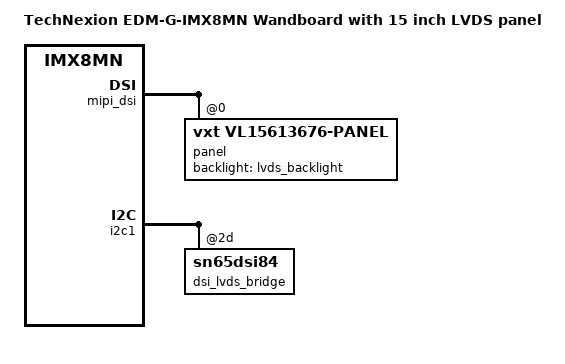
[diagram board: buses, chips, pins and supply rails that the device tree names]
// SPDX-License-Identifier: (GPL-2.0+ OR MIT)
/*
 * Copyright 2021 TechNexion Ltd.
 *
 * Author: Andy Lin <andy.lin@technexion.com>
 *
 */

/dts-v1/;

#include "imx8mn-edm-g-wb.dts"

/ {
	model = "TechNexion EDM-G-IMX8MN Wandboard with 15 inch LVDS panel";
};

&mipi_dsi {
	status = "okay";
	#address-cells = <1>;
	#size-cells = <0>;
	/delete-node/ panel@0;
	panel@0 {
		reg = <0>;
		compatible = "vxt,vl15613676-panel";
		backlight = <&lvds_backlight>;
		dsi,flags = <0x0007>;
		dsi,format = <0>;
		dsi,lanes = <4>;
		panel-width-mm  = <344>;
		panel-height-mm = <193>;
		bus-format = <0x100a>;	/* MEDIA_BUS_FMT_RGB888_1X24 */
		bus-flags = <1>;
		refresh-rate = <60>;
		rotate = <0>;
		/* horz-flip; */
		/* vert-flip; */
		/delete-node/ panel-timing;
		panel-timing {
			clock-frequency = <76000000>;
			hactive = <1366>;
			vactive = <768>;
			hfront-porch = <90>;
			hsync-len = <20>;
			hback-porch = <90>;
			vfront-porch = <17>;
			vsync-len = <4>;
			vback-porch = <17>;
			/* flags = DISPLAY_FLAGS_HSYNC_HIGH | DISPLAY_FLAGS_VSYNC_HIGH */
			vsync-active = <1>;
			hsync-active = <1>;
		};
	};
};

&i2c1 {
	/delete-node/ dsi_lvds_bridge;
	dsi_lvds_bridge: sn65dsi84@2d {
		sn65dsi84,addresses = <0x09 0x0A 0x0B 0x0D
							0x10 0x11 0x12 0x13
							0x18 0x19 0x1A 0x1B
							0x20 0x21 0x22 0x23
							0x24 0x25 0x26 0x27
							0x28 0x29 0x2A 0x2B
							0x2C 0x2D 0x2E 0x2F
							0x30 0x31 0x32 0x33
							0x34 0x35 0x36 0x37
							0x38 0x39 0x3A 0x3B
							0x3C 0x3D 0x3E 0x0D>;

		sn65dsi84,values = </* reset and clock registers */
							0x00 0x05 0x10 0x00
							/* DSI registers */
							0x26 0x00 0x35 0x00
							/* LVDS registers */
							0x78 0x00 0x03 0x00

							/* video registers */
							/* cha-al-len-l, cha-al-len-h, chb-al-len-l, chb-al-len-h */
							0x56 0x05 0x00 0x00
							/* cha-v-ds-l, cha-v-ds-h, chb-v-ds-l, chb-v-ds-h */
							0x00 0x03 0x00 0x00
							/* cha-sdl, cha-sdh, chb-sdl, chb-sdh */
							0x20 0x00 0x00 0x00
							/* cha-hs-pwl, cha-hs-pwh, chb-hs-pwl, chb-hs-pwh */
							0x14 0x00 0x00 0x00
							/* cha-vs-pwl, cha-vs-pwh, chb-vs-pwl, chb-vs-pwh */
							0x04 0x00 0x00 0x00
							/*cha-hbp, chb-hbp, cha-vbp, chb-vbp*/
							0x5a 0x00 0x11 0x00
							/* cha-hfp, chb-hfp, cha-vfp, chb-vfp*/
							0x5a 0x00 0x11 0x00

							0x00 0x00 0x00 0x01>;
		
		status = "okay";
	};
};
